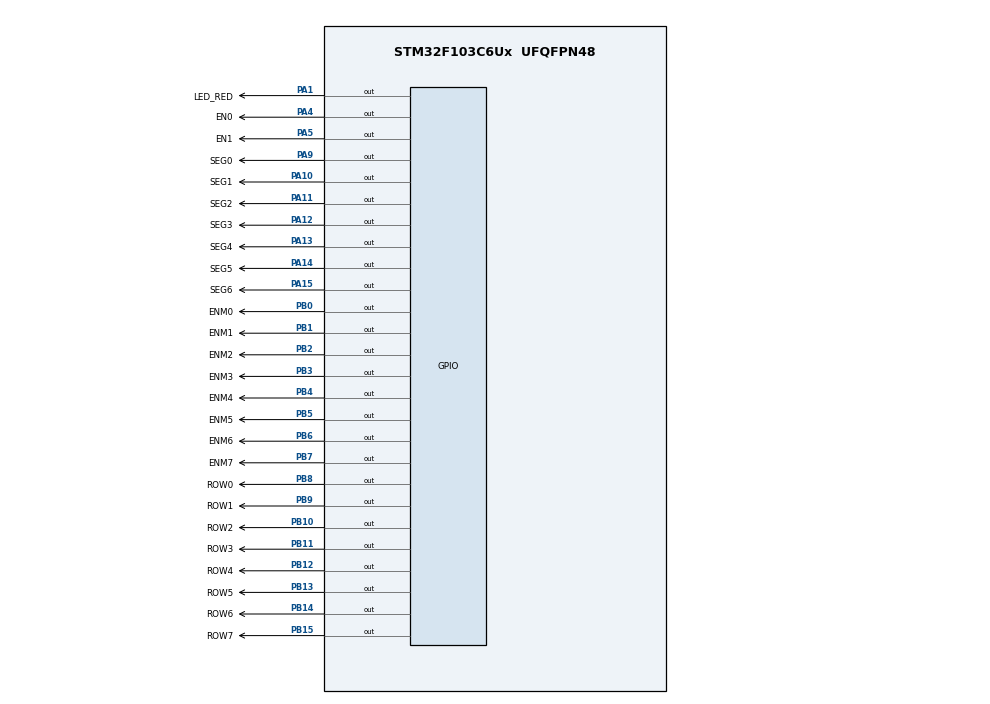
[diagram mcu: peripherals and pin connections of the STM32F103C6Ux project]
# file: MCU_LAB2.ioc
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Mcu.Family=STM32F1
Mcu.Name=STM32F103C6Ux
Mcu.Package=UFQFPN48
NVIC.PriorityGroup=NVIC_PRIORITYGROUP_4
NVIC.TIM2_IRQn=true\:0\:0\:false\:false\:true\:true\:true
PA1.GPIO_Label=LED_RED
PA1.Signal=GPIO_Output
PA10.GPIO_Label=SEG1
PA10.Signal=GPIO_Output
PA11.GPIO_Label=SEG2
PA11.Signal=GPIO_Output
PA12.GPIO_Label=SEG3
PA12.Signal=GPIO_Output
PA13.GPIO_Label=SEG4
PA13.Signal=GPIO_Output
PA14.GPIO_Label=SEG5
PA14.Signal=GPIO_Output
PA15.GPIO_Label=SEG6
PA15.Signal=GPIO_Output
PA4.GPIO_Label=EN0
PA4.Signal=GPIO_Output
PA5.GPIO_Label=EN1
PA5.Signal=GPIO_Output
PA9.GPIO_Label=SEG0
PA9.Signal=GPIO_Output
PB0.GPIO_Label=ENM0
PB0.Signal=GPIO_Output
PB1.GPIO_Label=ENM1
PB1.Signal=GPIO_Output
PB10.GPIO_Label=ROW2
PB10.Signal=GPIO_Output
PB11.GPIO_Label=ROW3
PB11.Signal=GPIO_Output
PB12.GPIO_Label=ROW4
PB12.Signal=GPIO_Output
PB13.GPIO_Label=ROW5
PB13.Signal=GPIO_Output
PB14.GPIO_Label=ROW6
PB14.Signal=GPIO_Output
PB15.GPIO_Label=ROW7
PB15.Signal=GPIO_Output
PB2.GPIO_Label=ENM2
PB2.Signal=GPIO_Output
PB3.GPIO_Label=ENM3
PB3.Signal=GPIO_Output
PB4.GPIO_Label=ENM4
PB4.Signal=GPIO_Output
PB5.GPIO_Label=ENM5
PB5.Signal=GPIO_Output
PB6.GPIO_Label=ENM6
PB6.Signal=GPIO_Output
PB7.GPIO_Label=ENM7
PB7.Signal=GPIO_Output
PB8.GPIO_Label=ROW0
PB8.Signal=GPIO_Output
PB9.GPIO_Label=ROW1
PB9.Signal=GPIO_Output
ProjectManager.HeapSize=0x200
ProjectManager.StackSize=0x400
ProjectManager.TargetToolchain=STM32CubeIDE
RCC.APB1Freq_Value=8000000
RCC.APB2Freq_Value=8000000
TIM2.Period=9
TIM2.Prescaler=7999
VP_SYS_VS_ND.Mode=No_Debug
VP_TIM2_VS_ClockSourceINT.Mode=Internal
board=custom

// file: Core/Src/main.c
/* USER CODE BEGIN Header */
/**
  ******************************************************************************
  * @file           : main.c
  * @brief          : Main program body
  ******************************************************************************
  * @attention
  *
  * <h2><center>&copy; Copyright (c) 2025 STMicroelectronics.
  * All rights reserved.</center></h2>
  *
  * This software component is licensed by ST under BSD 3-Clause license,
  * the "License"; You may not use this file except in compliance with the
  * License. You may obtain a copy of the License at:
  *                        opensource.org/licenses/BSD-3-Clause
  *
  ******************************************************************************
  */
/* USER CODE END Header */
#include "main.h"

TIM_HandleTypeDef htim2;

void SystemClock_Config(void);
static void MX_GPIO_Init(void);
static void MX_TIM2_Init(void);

/* USER CODE BEGIN 0 */
int timer_flag[2];
int timer_counter[2];

void setTimer(int index, int counter) {
	timer_flag[index] = 0;
	timer_counter[index] = counter;
}
void timerRun() {
	for (int i = 0; i < 2; i++) {
		if (timer_counter[i] > 0) {
			timer_counter[i]--;
		}
		if (timer_counter[i] <= 0) {
			timer_flag[i] = 1;
		}
	}
}
/* USER CODE END 0 */

int main(void)
{

  /* MCU Configuration--------------------------------------------------------*/

  /* Reset of all peripherals, Initializes the Flash interface and the Systick. */
  HAL_Init();

  /* Configure the system clock */
  SystemClock_Config();

  /* Initialize all configured peripherals */
  MX_GPIO_Init();
  MX_TIM2_Init();
  /* USER CODE BEGIN 2 */
  HAL_TIM_Base_Start_IT(&htim2);
    	ex10_init();
    	HAL_GPIO_WritePin( LED_RED_GPIO_Port, LED_RED_Pin, GPIO_PIN_SET);
  /* USER CODE END 2 */

  /* Infinite loop */
  while (1)
  {
	  if (timer_flag[0] == 1) {
	  			HAL_GPIO_TogglePin( LED_RED_GPIO_Port, LED_RED_Pin);
	  			setTimer(0, 100);
	  		}

	  		if (timer_flag[1] == 1) {
	  			ex10_run();
	  			setTimer(1, 25);
	  		}
  }
}

void SystemClock_Config(void)
{
  RCC_OscInitTypeDef RCC_OscInitStruct = {0};
  RCC_ClkInitTypeDef RCC_ClkInitStruct = {0};

  /** Initializes the RCC Oscillators according to the specified parameters
  * in the RCC_OscInitTypeDef structure.
  */
  RCC_OscInitStruct.OscillatorType = RCC_OSCILLATORTYPE_HSI;
  RCC_OscInitStruct.HSIState = RCC_HSI_ON;
  RCC_OscInitStruct.HSICalibrationValue = RCC_HSICALIBRATION_DEFAULT;
  RCC_OscInitStruct.PLL.PLLState = RCC_PLL_NONE;
  if (HAL_RCC_OscConfig(&RCC_OscInitStruct) != HAL_OK)
  {
    Error_Handler();
  }
  /** Initializes the CPU, AHB and APB buses clocks
  */
  RCC_ClkInitStruct.ClockType = RCC_CLOCKTYPE_HCLK|RCC_CLOCKTYPE_SYSCLK
                              |RCC_CLOCKTYPE_PCLK1|RCC_CLOCKTYPE_PCLK2;
  RCC_ClkInitStruct.SYSCLKSource = RCC_SYSCLKSOURCE_HSI;
  RCC_ClkInitStruct.AHBCLKDivider = RCC_SYSCLK_DIV1;
  RCC_ClkInitStruct.APB1CLKDivider = RCC_HCLK_DIV1;
  RCC_ClkInitStruct.APB2CLKDivider = RCC_HCLK_DIV1;

  if (HAL_RCC_ClockConfig(&RCC_ClkInitStruct, FLASH_LATENCY_0) != HAL_OK)
  {
    Error_Handler();
  }
}

static void MX_TIM2_Init(void)
{

  TIM_ClockConfigTypeDef sClockSourceConfig = {0};
  TIM_MasterConfigTypeDef sMasterConfig = {0};

  htim2.Instance = TIM2;
  htim2.Init.Prescaler = 7999;
  htim2.Init.CounterMode = TIM_COUNTERMODE_UP;
  htim2.Init.Period = 9;
  htim2.Init.ClockDivision = TIM_CLOCKDIVISION_DIV1;
  htim2.Init.AutoReloadPreload = TIM_AUTORELOAD_PRELOAD_DISABLE;
  if (HAL_TIM_Base_Init(&htim2) != HAL_OK)
  {
    Error_Handler();
  }
  sClockSourceConfig.ClockSource = TIM_CLOCKSOURCE_INTERNAL;
  if (HAL_TIM_ConfigClockSource(&htim2, &sClockSourceConfig) != HAL_OK)
  {
    Error_Handler();
  }
  sMasterConfig.MasterOutputTrigger = TIM_TRGO_RESET;
  sMasterConfig.MasterSlaveMode = TIM_MASTERSLAVEMODE_DISABLE;
  if (HAL_TIMEx_MasterConfigSynchronization(&htim2, &sMasterConfig) != HAL_OK)
  {
    Error_Handler();
  }

}

static void MX_GPIO_Init(void)
{
  GPIO_InitTypeDef GPIO_InitStruct = {0};

  /* GPIO Ports Clock Enable */
  __HAL_RCC_GPIOA_CLK_ENABLE();
  __HAL_RCC_GPIOB_CLK_ENABLE();

  /*Configure GPIO pin Output Level */
  HAL_GPIO_WritePin(GPIOA, LED_RED_Pin|EN0_Pin|EN1_Pin|SEG0_Pin
                          |SEG1_Pin|SEG2_Pin|SEG3_Pin|SEG4_Pin
                          |SEG5_Pin|SEG6_Pin, GPIO_PIN_RESET);

  /*Configure GPIO pin Output Level */
  HAL_GPIO_WritePin(GPIOB, ENM0_Pin|ENM1_Pin|ENM2_Pin|ROW2_Pin
                          |ROW3_Pin|ROW4_Pin|ROW5_Pin|ROW6_Pin
                          |ROW7_Pin|ENM3_Pin|ENM4_Pin|ENM5_Pin
                          |ENM6_Pin|ENM7_Pin|ROW0_Pin|ROW1_Pin, GPIO_PIN_RESET);

  /*Configure GPIO pins : LED_RED_Pin EN0_Pin EN1_Pin SEG0_Pin
                           SEG1_Pin SEG2_Pin SEG3_Pin SEG4_Pin
                           SEG5_Pin SEG6_Pin */
  GPIO_InitStruct.Pin = LED_RED_Pin|EN0_Pin|EN1_Pin|SEG0_Pin
                          |SEG1_Pin|SEG2_Pin|SEG3_Pin|SEG4_Pin
                          |SEG5_Pin|SEG6_Pin;
  GPIO_InitStruct.Mode = GPIO_MODE_OUTPUT_PP;
  GPIO_InitStruct.Pull = GPIO_NOPULL;
  GPIO_InitStruct.Speed = GPIO_SPEED_FREQ_LOW;
  HAL_GPIO_Init(GPIOA, &GPIO_InitStruct);

  /*Configure GPIO pins : ENM0_Pin ENM1_Pin ENM2_Pin ROW2_Pin
                           ROW3_Pin ROW4_Pin ROW5_Pin ROW6_Pin
                           ROW7_Pin ENM3_Pin ENM4_Pin ENM5_Pin
                           ENM6_Pin ENM7_Pin ROW0_Pin ROW1_Pin */
  GPIO_InitStruct.Pin = ENM0_Pin|ENM1_Pin|ENM2_Pin|ROW2_Pin
                          |ROW3_Pin|ROW4_Pin|ROW5_Pin|ROW6_Pin
                          |ROW7_Pin|ENM3_Pin|ENM4_Pin|ENM5_Pin
                          |ENM6_Pin|ENM7_Pin|ROW0_Pin|ROW1_Pin;
  GPIO_InitStruct.Mode = GPIO_MODE_OUTPUT_PP;
  GPIO_InitStruct.Pull = GPIO_NOPULL;
  GPIO_InitStruct.Speed = GPIO_SPEED_FREQ_LOW;
  HAL_GPIO_Init(GPIOB, &GPIO_InitStruct);

}

/* USER CODE BEGIN 4 */
void HAL_TIM_PeriodElapsedCallback(TIM_HandleTypeDef *htim) {
	timerRun();
}
/* USER CODE END 4 */

void Error_Handler(void)
{
  __disable_irq();
  while (1)
  {
  }
}

/************************ (C) COPYRIGHT STMicroelectronics *****END OF FILE****/
